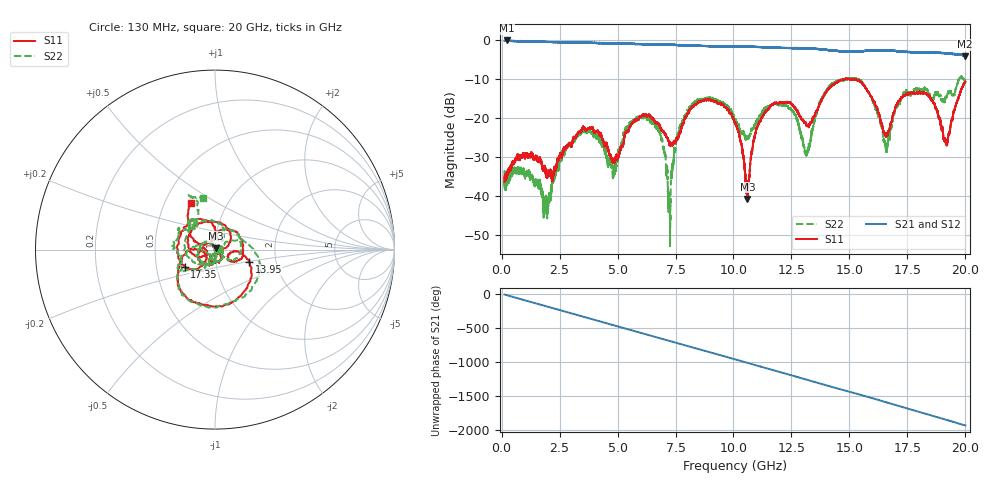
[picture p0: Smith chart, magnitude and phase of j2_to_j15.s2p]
!Created with skrf (http://scikit-rf.org).
# GHz S RI R 50.0
!freq ReS11 ImS11 ReS21 ImS21 ReS12 ImS12 ReS22 ImS22
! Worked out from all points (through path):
!   20013 points, 130 MHz to 20 GHz, reference 50 ohm
!   highest |S21| = -0.09 dB at 225 MHz (marker M1); lowest = -4.1 dB at 19.99 GHz (marker M2)
!   group delay of S21, straight-line fit = 268 ps
!   lowest |S11| = -40.8 dB at 10.6 GHz (marker M3), VSWR 1.02, Z = 50.4 + j0.807 ohm
!   |S11| at or under -10 dB: start of sweep to 14.8 GHz; 15.21 GHz to 15.29 GHz (88.79 MHz wide, 0.582 % of centre); 15.29 GHz to end of sweep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
!   |S22| runs from -53.0 to -9.3 dB; largest |S21 - S12| = 0.11
!   S11 on the Smith chart (normalised r, x): 130 MHz: 1.03, +0.01; 13.95 GHz: 1.46, -0.21; 17.35 GHz: 0.70, -0.14; 20 GHz: 0.68, +0.39
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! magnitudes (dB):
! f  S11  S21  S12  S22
! 130 MHz  -35.2  -0.2  0.0  -36.8
! 225 MHz  -35.0  -0.1  -0.1  -35.6
! 1.908 GHz  -34.3  -0.5  -0.4  -41.4
! 3.442 GHz  -23.4  -0.6  -0.6  -23.5
! 4.857 GHz  -31.6  -0.8  -0.8  -34.7
! 5.595 GHz  -21.7  -1.0  -1.0  -21.0
! 6.754 GHz  -21.3  -1.1  -1.1  -23.4
! 7.253 GHz  -26.3  -1.2  -1.1  -45.5
! 7.605 GHz  -25.4  -1.3  -1.2  -24.3
! 8.169 GHz  -17.5  -1.4  -1.4  -17.0
! 10.06 GHz  -21.3  -1.6  -1.5  -20.6
! 10.6 GHz  -40.8  -1.6  -1.6  -25.3
! 11.62 GHz  -16.8  -1.9  -1.9  -16.7
! 13.38 GHz  -21.0  -2.2  -2.1  -23.3
! 13.95 GHz  -13.8  -2.5  -2.5  -13.3
! 15.46 GHz  -10.7  -2.9  -2.8  -10.4
! 16.69 GHz  -23.4  -2.6  -2.7  -25.6
! 17.35 GHz  -14.1  -3.0  -3.0  -13.4
! 18.4 GHz  -14.3  -3.2  -3.1  -13.6
! 19.16 GHz  -26.2  -3.4  -3.3  -14.5
! 19.99 GHz  -10.7  -4.1  -4.0  -10.4
! 20 GHz  -10.7  -4.0  -4.0  -10.5
